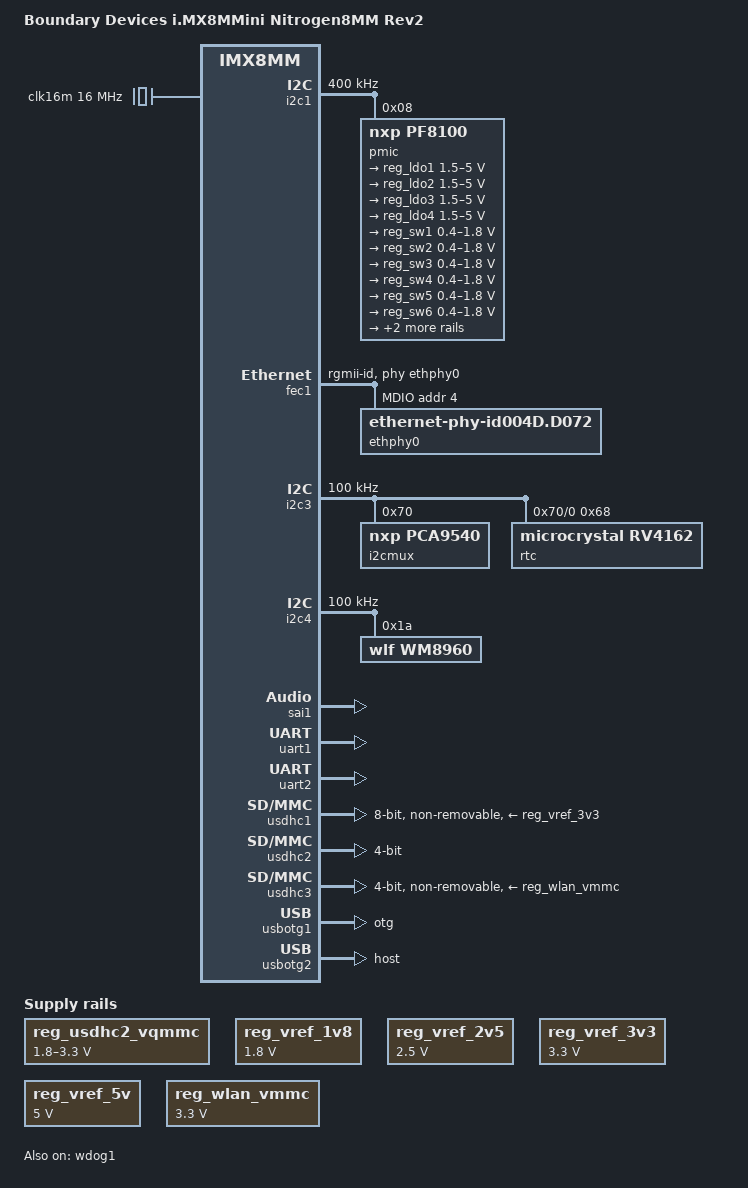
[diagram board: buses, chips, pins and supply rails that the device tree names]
// SPDX-License-Identifier: (GPL-2.0+ OR MIT)
/*
 * Device Tree file for Boundary Devices i.MX8MMini Nitrogen8MM Rev2 board.
 * Adrien Grassein <adrien.grassein@gmail.com.com>
 */
/dts-v1/;
#include "imx8mm.dtsi"

#define MX8MMN(a, b)	MX8MM_##a b
#define IMX8MMN(a)	IMX8MM_##a

&iomuxc {
	pinctrl-names = "default";
	pinctrl-0 = <&pinctrl_hog>;

	pinctrl_sai1: sai1grp {
		fsl,pins = <
			/* wm8960 */
			MX8MMN(IOMUXC_SAI1_MCLK_SAI1_MCLK, 0xd6)
			MX8MMN(IOMUXC_SAI1_TXFS_SAI1_TX_SYNC, 0xd6)
			MX8MMN(IOMUXC_SAI1_TXC_SAI1_TX_BCLK, 0xd6)
			MX8MMN(IOMUXC_SAI1_TXD0_SAI1_TX_DATA0, 0xd6)
			MX8MMN(IOMUXC_SAI1_RXD0_SAI1_RX_DATA0, 0xd6)
		>;
	};

	pinctrl_usbotg2: usbotg2grp {
		fsl,pins = <
			MX8MMN(IOMUXC_GPIO1_IO14_USB2_OTG_PWR, 0x16)
			MX8MMN(IOMUXC_GPIO1_IO15_USB2_OTG_OC, 0x156)
		>;
	};

	pinctrl_bt_rfkill: bt-rfkillgrp {
		fsl,pins = <
#define GP_BT_RFKILL_RESET	<&gpio3 14 GPIO_ACTIVE_LOW>
			MX8MMN(IOMUXC_NAND_DQS_GPIO3_IO14, 0x119)
		>;
	};

	pinctrl_fec1: fec1grp {
		fsl,pins = <
			MX8MMN(IOMUXC_ENET_MDC_ENET1_MDC, 0x3)
			MX8MMN(IOMUXC_ENET_MDIO_ENET1_MDIO, 0x3)
			MX8MMN(IOMUXC_ENET_TD3_ENET1_RGMII_TD3, 0x1f)
			MX8MMN(IOMUXC_ENET_TD2_ENET1_RGMII_TD2, 0x1f)
			MX8MMN(IOMUXC_ENET_TD1_ENET1_RGMII_TD1, 0x1f)
			MX8MMN(IOMUXC_ENET_TD0_ENET1_RGMII_TD0, 0x1f)
			MX8MMN(IOMUXC_ENET_RD3_ENET1_RGMII_RD3, 0x91)
			MX8MMN(IOMUXC_ENET_RD2_ENET1_RGMII_RD2, 0x91)
			MX8MMN(IOMUXC_ENET_RD1_ENET1_RGMII_RD1, 0x91)
			MX8MMN(IOMUXC_ENET_RD0_ENET1_RGMII_RD0, 0x91)
			MX8MMN(IOMUXC_ENET_TXC_ENET1_RGMII_TXC, 0x1f)
			MX8MMN(IOMUXC_ENET_RXC_ENET1_RGMII_RXC, 0x91)
			MX8MMN(IOMUXC_ENET_RX_CTL_ENET1_RGMII_RX_CTL, 0x91)
			MX8MMN(IOMUXC_ENET_TX_CTL_ENET1_RGMII_TX_CTL, 0x1f)
#define GPIRQ_FEC1_PHY	<&gpio3 16 IRQ_TYPE_LEVEL_LOW>
			MX8MMN(IOMUXC_NAND_READY_B_GPIO3_IO16, 0x159)
		>;
	};

	pinctrl_hog: hoggrp {
		fsl,pins = <
			MX8MMN(IOMUXC_GPIO1_IO03_GPIO1_IO3, 0x09)
			MX8MMN(IOMUXC_GPIO1_IO08_GPIO1_IO8, 0x09)
		>;
	};

	pinctrl_i2c1: i2c1grp {
		fsl,pins = <
			MX8MMN(IOMUXC_I2C1_SCL_I2C1_SCL, 0x400001c3)
			MX8MMN(IOMUXC_I2C1_SDA_I2C1_SDA, 0x400001c3)
		>;
	};

	pinctrl_i2c1_1: i2c1_1grp {
		fsl,pins = <
#define GP_I2C1_SCL	<&gpio5 14 GPIO_OPEN_DRAIN>
			MX8MMN(IOMUXC_I2C1_SCL_GPIO5_IO14, 0x400001c3)
#define GP_I2C1_SDA	<&gpio5 15 GPIO_OPEN_DRAIN>
			MX8MMN(IOMUXC_I2C1_SDA_GPIO5_IO15, 0x400001c3)
		>;
	};

	pinctrl_i2c2: i2c2grp {
		fsl,pins = <
			MX8MMN(IOMUXC_I2C2_SCL_I2C2_SCL, 0x400001c3)
			MX8MMN(IOMUXC_I2C2_SDA_I2C2_SDA, 0x400001c3)
		>;
	};

	pinctrl_i2c2_1: i2c2_1grp {
		fsl,pins = <
#define GP_I2C2_SCL	<&gpio5 16 GPIO_OPEN_DRAIN>
			MX8MMN(IOMUXC_I2C2_SCL_GPIO5_IO16, 0x400001c3)
#define GP_I2C2_SDA	<&gpio5 17 GPIO_OPEN_DRAIN>
			MX8MMN(IOMUXC_I2C2_SDA_GPIO5_IO17, 0x400001c3)
		>;
	};

	pinctrl_i2c3: i2c3grp {
		fsl,pins = <
			MX8MMN(IOMUXC_I2C3_SCL_I2C3_SCL, 0x400001c3)
			MX8MMN(IOMUXC_I2C3_SDA_I2C3_SDA, 0x400001c3)
		>;
	};

	pinctrl_i2c3_1: i2c3_1grp {
		fsl,pins = <
#define GP_I2C3_SCL	<&gpio5 18 GPIO_OPEN_DRAIN>
			MX8MMN(IOMUXC_I2C3_SCL_GPIO5_IO18, 0x400001c3)
#define GP_I2C3_SDA	<&gpio5 19 GPIO_OPEN_DRAIN>
			MX8MMN(IOMUXC_I2C3_SDA_GPIO5_IO19, 0x400001c3)
		>;
	};

	pinctrl_i2c3a_rv4162: i2c3a-rv4162grp {
		fsl,pins = <
#define GPIRQ_RV4162		<&gpio4 22 IRQ_TYPE_LEVEL_LOW>
			MX8MMN(IOMUXC_SAI2_RXC_GPIO4_IO22, 0x1c0)
		>;
	};

	pinctrl_i2c4: i2c4grp {
		fsl,pins = <
			MX8MMN(IOMUXC_I2C4_SCL_I2C4_SCL, 0x400001c3)
			MX8MMN(IOMUXC_I2C4_SDA_I2C4_SDA, 0x400001c3)
		>;
	};

	pinctrl_i2c4_1: i2c4_1grp {
		fsl,pins = <
#define GP_I2C4_SCL	<&gpio5 20 GPIO_OPEN_DRAIN>
			MX8MMN(IOMUXC_I2C4_SCL_GPIO5_IO20, 0x400001c3)
#define GP_I2C4_SDA	<&gpio5 21 GPIO_OPEN_DRAIN>
			MX8MMN(IOMUXC_I2C4_SDA_GPIO5_IO21, 0x400001c3)
		>;
	};

	pinctrl_reg_usdhc2_vqmmc: reg_usdhc2_vqmmcgrp {
		fsl,pins = <
#define GP_USDHC2_VSEL	<&gpio3 2 GPIO_ACTIVE_HIGH>
			MX8MMN(IOMUXC_NAND_CE1_B_GPIO3_IO2, 0x16)
		>;
	};

	pinctrl_reg_wlan_vmmc: reg-wlan-vmmcgrp {
		fsl,pins = <
#define GP_REG_WLAN_VMMC	<&gpio3 20 GPIO_ACTIVE_HIGH>
			MX8MMN(IOMUXC_SAI5_RXC_GPIO3_IO20, 0x16)
		>;
	};

	pinctrl_sound_wm8960: sound-wm8960grp {
		fsl,pins = <
#define GP_WM8960_MIC_DET		<&gpio1 10 GPIO_ACTIVE_HIGH>
			MX8MMN(IOMUXC_GPIO1_IO10_GPIO1_IO10, 0x80)
#define GP_WM8960_HP_DET		<&gpio4 28 GPIO_ACTIVE_HIGH>
			MX8MMN(IOMUXC_SAI3_RXFS_GPIO4_IO28, 0x80)
		>;
	};

	pinctrl_uart1: uart1grp {
		fsl,pins = <
			MX8MMN(IOMUXC_UART1_RXD_UART1_DCE_RX, 0x140)
			MX8MMN(IOMUXC_UART1_TXD_UART1_DCE_TX, 0x140)
			MX8MMN(IOMUXC_UART3_RXD_UART1_DCE_CTS_B, 0x140)
			MX8MMN(IOMUXC_UART3_TXD_UART1_DCE_RTS_B, 0x140)
		>;
	};

	pinctrl_uart2: uart2grp {
		fsl,pins = <
			MX8MMN(IOMUXC_UART2_RXD_UART2_DCE_RX, 0x140)
			MX8MMN(IOMUXC_UART2_TXD_UART2_DCE_TX, 0x140)
		>;
	};

	pinctrl_uart3: uart3grp {
		fsl,pins = <
			MX8MMN(IOMUXC_ECSPI1_SCLK_UART3_DCE_RX, 0x140)
			MX8MMN(IOMUXC_ECSPI1_MOSI_UART3_DCE_TX, 0x140)
			MX8MMN(IOMUXC_ECSPI1_SS0_UART3_DCE_RTS_B, 0x140)
			MX8MMN(IOMUXC_ECSPI1_MISO_UART3_DCE_CTS_B, 0x140)
		>;
	};

	pinctrl_uart4: uart4grp {
		fsl,pins = <
			MX8MMN(IOMUXC_UART4_RXD_UART4_DCE_RX, 0x140)
			MX8MMN(IOMUXC_UART4_TXD_UART4_DCE_TX, 0x140)
		>;
	};

	pinctrl_usbotg1: usbotg1grp {
		fsl,pins = <
			MX8MMN(IOMUXC_GPIO1_IO12_USB1_OTG_PWR, 0x16)
			MX8MMN(IOMUXC_GPIO1_IO13_USB1_OTG_OC, 0x156)
		>;
	};

	pinctrl_usdhc1: usdhc1grp {
		fsl,pins = <
			MX8MMN(IOMUXC_SD1_CLK_USDHC1_CLK, 0x190)
			MX8MMN(IOMUXC_SD1_CMD_USDHC1_CMD, 0x1d0)
			MX8MMN(IOMUXC_SD1_DATA0_USDHC1_DATA0, 0x1d0)
			MX8MMN(IOMUXC_SD1_DATA1_USDHC1_DATA1, 0x1d0)
			MX8MMN(IOMUXC_SD1_DATA2_USDHC1_DATA2, 0x1d0)
			MX8MMN(IOMUXC_SD1_DATA3_USDHC1_DATA3, 0x1d0)
			MX8MMN(IOMUXC_SD1_DATA4_USDHC1_DATA4, 0x1d0)
			MX8MMN(IOMUXC_SD1_DATA5_USDHC1_DATA5, 0x1d0)
			MX8MMN(IOMUXC_SD1_DATA6_USDHC1_DATA6, 0x1d0)
			MX8MMN(IOMUXC_SD1_DATA7_USDHC1_DATA7, 0x1d0)
#define GP_EMMC_RESET		<&gpio2 10 GPIO_ACTIVE_LOW>
			MX8MMN(IOMUXC_SD1_RESET_B_GPIO2_IO10, 0x141)
		>;
	};

	pinctrl_usdhc1_100mhz: usdhc1grp100mhz {
		fsl,pins = <
			MX8MMN(IOMUXC_SD1_CLK_USDHC1_CLK, 0x194)
			MX8MMN(IOMUXC_SD1_CMD_USDHC1_CMD, 0x1d4)
			MX8MMN(IOMUXC_SD1_DATA0_USDHC1_DATA0, 0x1d4)
			MX8MMN(IOMUXC_SD1_DATA1_USDHC1_DATA1, 0x1d4)
			MX8MMN(IOMUXC_SD1_DATA2_USDHC1_DATA2, 0x1d4)
			MX8MMN(IOMUXC_SD1_DATA3_USDHC1_DATA3, 0x1d4)
			MX8MMN(IOMUXC_SD1_DATA4_USDHC1_DATA4, 0x1d4)
			MX8MMN(IOMUXC_SD1_DATA5_USDHC1_DATA5, 0x1d4)
			MX8MMN(IOMUXC_SD1_DATA6_USDHC1_DATA6, 0x1d4)
			MX8MMN(IOMUXC_SD1_DATA7_USDHC1_DATA7, 0x1d4)
		>;
	};

	pinctrl_usdhc1_200mhz: usdhc1grp200mhz {
		fsl,pins = <
			MX8MMN(IOMUXC_SD1_CLK_USDHC1_CLK, 0x196)
			MX8MMN(IOMUXC_SD1_CMD_USDHC1_CMD, 0x1d6)
			MX8MMN(IOMUXC_SD1_DATA0_USDHC1_DATA0, 0x1d6)
			MX8MMN(IOMUXC_SD1_DATA1_USDHC1_DATA1, 0x1d6)
			MX8MMN(IOMUXC_SD1_DATA2_USDHC1_DATA2, 0x1d6)
			MX8MMN(IOMUXC_SD1_DATA3_USDHC1_DATA3, 0x1d6)
			MX8MMN(IOMUXC_SD1_DATA4_USDHC1_DATA4, 0x1d6)
			MX8MMN(IOMUXC_SD1_DATA5_USDHC1_DATA5, 0x1d6)
			MX8MMN(IOMUXC_SD1_DATA6_USDHC1_DATA6, 0x1d6)
			MX8MMN(IOMUXC_SD1_DATA7_USDHC1_DATA7, 0x1d6)
		>;
	};

	pinctrl_usdhc2: usdhc2grp {
		fsl,pins = <
			MX8MMN(IOMUXC_SD2_CLK_USDHC2_CLK, 0x190)
			MX8MMN(IOMUXC_SD2_CMD_USDHC2_CMD, 0x1d0)
			MX8MMN(IOMUXC_SD2_DATA0_USDHC2_DATA0, 0x1d0)
			MX8MMN(IOMUXC_SD2_DATA1_USDHC2_DATA1, 0x1d0)
			MX8MMN(IOMUXC_SD2_DATA2_USDHC2_DATA2, 0x1d0)
			MX8MMN(IOMUXC_SD2_DATA3_USDHC2_DATA3, 0x1d0)
#define GP_USDHC2_CD	<&gpio2 12 GPIO_ACTIVE_LOW>
			MX8MMN(IOMUXC_SD2_CD_B_GPIO2_IO12, 0x1c4)
		>;
	};

	pinctrl_usdhc2_100mhz: usdhc2grp100mhz {
		fsl,pins = <
			MX8MMN(IOMUXC_SD2_CLK_USDHC2_CLK, 0x194)
			MX8MMN(IOMUXC_SD2_CMD_USDHC2_CMD, 0x1d4)
			MX8MMN(IOMUXC_SD2_DATA0_USDHC2_DATA0, 0x1d4)
			MX8MMN(IOMUXC_SD2_DATA1_USDHC2_DATA1, 0x1d4)
			MX8MMN(IOMUXC_SD2_DATA2_USDHC2_DATA2, 0x1d4)
			MX8MMN(IOMUXC_SD2_DATA3_USDHC2_DATA3, 0x1d4)
		>;
	};

	pinctrl_usdhc2_200mhz: usdhc2grp200mhz {
		fsl,pins = <
			MX8MMN(IOMUXC_SD2_CLK_USDHC2_CLK, 0x196)
			MX8MMN(IOMUXC_SD2_CMD_USDHC2_CMD, 0x1d6)
			MX8MMN(IOMUXC_SD2_DATA0_USDHC2_DATA0, 0x1d6)
			MX8MMN(IOMUXC_SD2_DATA1_USDHC2_DATA1, 0x1d6)
			MX8MMN(IOMUXC_SD2_DATA2_USDHC2_DATA2, 0x1d6)
			MX8MMN(IOMUXC_SD2_DATA3_USDHC2_DATA3, 0x1d6)
		>;
	};

	pinctrl_usdhc3: usdhc3grp {
		fsl,pins = <
			MX8MMN(IOMUXC_NAND_WE_B_USDHC3_CLK, 0x190)
			MX8MMN(IOMUXC_NAND_WP_B_USDHC3_CMD, 0x1d0)
			MX8MMN(IOMUXC_NAND_DATA04_USDHC3_DATA0, 0x1d0)
			MX8MMN(IOMUXC_NAND_DATA05_USDHC3_DATA1, 0x1d0)
			MX8MMN(IOMUXC_NAND_DATA06_USDHC3_DATA2, 0x1d0)
			MX8MMN(IOMUXC_NAND_DATA07_USDHC3_DATA3, 0x1d0)
			/* Bluetooth slow clock */
			MX8MMN(IOMUXC_GPIO1_IO00_ANAMIX_REF_CLK_32K, 0x03)
		>;
	};

	pinctrl_usdhc3_100mhz: usdhc3grp100mhz {
		fsl,pins = <
			MX8MMN(IOMUXC_NAND_WE_B_USDHC3_CLK, 0x194)
			MX8MMN(IOMUXC_NAND_WP_B_USDHC3_CMD, 0x1d4)
			MX8MMN(IOMUXC_NAND_DATA04_USDHC3_DATA0, 0x1d4)
			MX8MMN(IOMUXC_NAND_DATA05_USDHC3_DATA1, 0x1d4)
			MX8MMN(IOMUXC_NAND_DATA06_USDHC3_DATA2, 0x1d4)
			MX8MMN(IOMUXC_NAND_DATA07_USDHC3_DATA3, 0x1d4)
		>;
	};

	pinctrl_usdhc3_200mhz: usdhc3grp200mhz {
		fsl,pins = <
			MX8MMN(IOMUXC_NAND_WE_B_USDHC3_CLK, 0x196)
			MX8MMN(IOMUXC_NAND_WP_B_USDHC3_CMD, 0x1d6)
			MX8MMN(IOMUXC_NAND_DATA04_USDHC3_DATA0, 0x1d6)
			MX8MMN(IOMUXC_NAND_DATA05_USDHC3_DATA1, 0x1d6)
			MX8MMN(IOMUXC_NAND_DATA06_USDHC3_DATA2, 0x1d6)
			MX8MMN(IOMUXC_NAND_DATA07_USDHC3_DATA3, 0x1d6)
		>;
	};

	pinctrl_wdog: wdoggrp {
		fsl,pins = <
			MX8MMN(IOMUXC_GPIO1_IO02_WDOG1_WDOG_B, 0x140)
		>;
	};

	pinctrl_usbotg1: usbotg1grp {
		fsl,pins = <
			MX8MMN(IOMUXC_GPIO1_IO12_USB1_OTG_PWR, 0x16)
			MX8MMN(IOMUXC_GPIO1_IO13_USB1_OTG_OC, 0x156)
		>;
	};

	pinctrl_usbotg2: usbotg2grp {
		fsl,pins = <
			MX8MMN(IOMUXC_GPIO1_IO14_USB2_OTG_PWR, 0x16)
			MX8MMN(IOMUXC_GPIO1_IO15_USB2_OTG_OC, 0x156)
		>;
	};
};


&i2c1 {
	clock-frequency = <400000>;
	pinctrl-names = "default", "gpio";
	pinctrl-0 = <&pinctrl_i2c1>;
	pinctrl-1 = <&pinctrl_i2c1_1>;
	scl-gpios = GP_I2C1_SCL;
	sda-gpios = GP_I2C1_SDA;
	status = "okay";

	pmic: pf8100@8 {
		compatible = "nxp,pf8100";
		reg = <0x08>;
		status = "okay";

		regulators {
			reg_ldo1: ldo1 {
				regulator-always-on;
				regulator-boot-on;
				regulator-max-microvolt = <5000000>;
				regulator-min-microvolt = <1500000>;
			};

			reg_ldo2: ldo2 {
				regulator-always-on;
				regulator-boot-on;
				regulator-max-microvolt = <5000000>;
				regulator-min-microvolt = <1500000>;
			};

			reg_ldo3: ldo3 {
				regulator-always-on;
				regulator-boot-on;
				regulator-max-microvolt = <5000000>;
				regulator-min-microvolt = <1500000>;
			};

			reg_ldo4: ldo4 {
				regulator-always-on;
				regulator-boot-on;
				regulator-max-microvolt = <5000000>;
				regulator-min-microvolt = <1500000>;
			};

			reg_sw1: sw1 {
				nxp,phase = <0>;
				regulator-always-on;
				regulator-boot-on;
				regulator-max-microvolt = <1800000>;
				regulator-min-microvolt = <400000>;
				regulator-max-microamp  = <4500000>;
			};

			reg_sw2: sw2 {
				regulator-always-on;
				regulator-boot-on;
				regulator-max-microvolt = <1800000>;
				regulator-min-microvolt =  <400000>;
			};

			reg_sw3: sw3 {
				regulator-always-on;
				regulator-boot-on;
				regulator-max-microvolt = <1800000>;
				regulator-min-microvolt =  <400000>;
				nxp,fast-slew;
			};

			reg_sw4: sw4 {
				regulator-always-on;
				regulator-boot-on;
				regulator-max-microvolt = <1800000>;
				regulator-min-microvolt =  <400000>;
				nxp,fast-slew;
			};

			reg_sw5: sw5 {
				regulator-always-on;
				regulator-boot-on;
				regulator-max-microvolt = <1800000>;
				regulator-min-microvolt =  <400000>;
			};

			reg_sw6: sw6 {
				regulator-always-on;
				regulator-boot-on;
				regulator-max-microvolt = <1800000>;
				regulator-min-microvolt =  <400000>;
			};

			reg_sw7: sw7 {
				regulator-always-on;
				regulator-boot-on;
				regulator-max-microvolt = <4100000>;
				regulator-min-microvolt = <1000000>;
			};

			reg_vsnvs: vsnvs {
				regulator-always-on;
				regulator-boot-on;
				regulator-max-microvolt = <3300000>;
				regulator-min-microvolt = <1800000>;
			};
		};
	};
};

/ {
	model = "Boundary Devices i.MX8MMini Nitrogen8MM Rev2";
	compatible = "boundary,imx8mm-nitrogen8mm", "fsl,imx8mm";

	bt-rfkill {
		compatible = "net,rfkill-gpio";
		pinctrl-names = "default";
		pinctrl-0 = <&pinctrl_bt_rfkill>;
		name = "bt-rfkill";
		type = <2>; /* Bluetooth */
		reset-gpios = GP_BT_RFKILL_RESET;
		status = "okay";
	};

	reg_usdhc2_vqmmc: regulator-usdhc2-vqmmc {
		compatible = "regulator-gpio";
		pinctrl-names = "default";
		pinctrl-0 = <&pinctrl_reg_usdhc2_vqmmc>;
		regulator-name = "reg_sd2_vsel";
		regulator-min-microvolt = <1800000>;
		regulator-max-microvolt = <3300000>;
		regulator-type = "voltage";
		regulator-boot-on;
		regulator-always-on;
		gpios = GP_USDHC2_VSEL;
		states = <1800000 0x1
			  3300000 0x0>;
	};

	reg_vref_1v8: regulator-vref-1v8 {
		compatible = "regulator-fixed";
		regulator-name = "vref-1v8";
		regulator-min-microvolt = <1800000>;
		regulator-max-microvolt = <1800000>;
	};

	reg_vref_2v5: regulator-vref-2v5 {
		compatible = "regulator-fixed";
		regulator-name = "vref-2v5";
		regulator-min-microvolt = <2500000>;
		regulator-max-microvolt = <2500000>;
	};

	reg_vref_3v3: regulator-vref-3v3 {
		compatible = "regulator-fixed";
		regulator-name = "vref-3v3";
		regulator-min-microvolt = <3300000>;
		regulator-max-microvolt = <3300000>;
	};

	reg_vref_5v: regulator-vref-5v {
		compatible = "regulator-fixed";
		regulator-name = "vref-5v";
		regulator-min-microvolt = <5000000>;
		regulator-max-microvolt = <5000000>;
	};

	reg_wlan_vmmc: regulator-wlan-vmmc {
		compatible = "regulator-fixed";
		pinctrl-names = "default";
		pinctrl-0 = <&pinctrl_reg_wlan_vmmc>;
		regulator-name = "reg_wlan_vmmc";
		regulator-min-microvolt = <3300000>;
		regulator-max-microvolt = <3300000>;
		gpio = GP_REG_WLAN_VMMC;
		startup-delay-us = <70000>;
		enable-active-high;
	};

	clocks {
		clk16m: clk16m {
			compatible = "fixed-clock";
			#clock-cells = <0>;
			clock-frequency = <16000000>;
		};
	};

	sound-wm8960 {
		compatible = "fsl,imx-audio-wm8960";
		model = "wm8960-audio";
		audio-cpu = <&sai1>;
		codec-master;
		audio-codec = <&wm8960>;
		audio-routing =
			"Headphone Jack", "HP_L",
			"Headphone Jack", "HP_R",
			"Ext Spk", "SPK_LP",
			"Ext Spk", "SPK_LN",
			"Ext Spk", "SPK_RP",
			"Ext Spk", "SPK_RN",
			"RINPUT1", "Mic Jack",
			"Mic Jack", "MICB";
		/* JD2: hp detect high for headphone*/
		hp-det = <2 0>;
		hp-det-gpios = GP_WM8960_HP_DET;
		pinctrl-names = "default";
		pinctrl-0 = <&pinctrl_sound_wm8960>;
	};
};

&A53_0 {
	cpu-supply = <&reg_sw3>;
};

&fec1 {
	pinctrl-names = "default";
	pinctrl-0 = <&pinctrl_fec1>;

	phy-mode = "rgmii-id";
	phy-handle = <&ethphy0>;
	fsl,magic-packet;
	status = "okay";

	mdio {
		#address-cells = <1>;
		#size-cells = <0>;
		ethphy0: ethernet-phy@4 {
			compatible = "ethernet-phy-id004D.D072", "ethernet-phy-ieee802.3-c22";
			reg = <4>;
			interrupts-extended = GPIRQ_FEC1_PHY;
		};
	};
};

&i2c3 {
	clock-frequency = <100000>;
	pinctrl-names = "default", "gpio";
	pinctrl-0 = <&pinctrl_i2c3>;
	pinctrl-1 = <&pinctrl_i2c3_1>;
	scl-gpios = GP_I2C3_SCL;
	sda-gpios = GP_I2C3_SDA;
	status = "okay";

	i2cmux@70 {
		compatible = "nxp,pca9540";
		reg = <0x70>;
		#address-cells = <1>;
		#size-cells = <0>;

		i2c3a: i2c3@0 {
			reg = <0>;
			#address-cells = <1>;
			#size-cells = <0>;
				rtc@68 {
					compatible = "microcrystal,rv4162";
					pinctrl-names = "default";
					pinctrl-0 = <&pinctrl_i2c3a_rv4162>;
					reg = <0x68>;
					interrupts-extended = GPIRQ_RV4162;
					wakeup-source;
				};
		};
	};
};

&i2c4 {
	clock-frequency = <100000>;
	pinctrl-names = "default", "gpio";
	pinctrl-0 = <&pinctrl_i2c4>;
	pinctrl-1 = <&pinctrl_i2c4_1>;
	scl-gpios = GP_I2C4_SCL;
	sda-gpios = GP_I2C4_SDA;
	status = "okay";

	wm8960: codec@1a {
		compatible = "wlf,wm8960";
		reg = <0x1a>;
		clocks = <&clk IMX8MMN(CLK_SAI1_ROOT)>;
		clock-names = "mclk";
		wlf,shared-lrclk;
	};
};

&sai1 {
	assigned-clocks = <&clk IMX8MMN(AUDIO_PLL1)>, <&clk IMX8MMN(AUDIO_PLL2)>, <&clk IMX8MMN(CLK_SAI1)>;
	assigned-clock-parents = <0>, <0>, <&clk IMX8MMN(AUDIO_PLL1_OUT)>;
	assigned-clock-rates = <786432000>, <722534400>, <12288000>;
	pinctrl-names = "default";
	pinctrl-0 = <&pinctrl_sai1>;
	status = "okay";
};

&uart1 { /* BT */
	pinctrl-names = "default";
	pinctrl-0 = <&pinctrl_uart1>;
	assigned-clocks = <&clk IMX8MMN(CLK_UART1)>;
	assigned-clock-parents = <&clk IMX8MMN(SYS_PLL1_80M)>;
	fsl,uart-has-rtscts;
	status = "okay";
};

&uart2 { /* console */
	pinctrl-names = "default";
	pinctrl-0 = <&pinctrl_uart2>;
	assigned-clocks = <&clk IMX8MMN(CLK_UART2)>;
	assigned-clock-parents = <&clk IMX8MMN(CLK_24M)>;
	status = "okay";
};

/*eMMC*/
&usdhc1 {
	bus-width = <8>;
	sdhci-caps-mask = <0x80000000 0x0>;
	non-removable;
	pinctrl-names = "default", "state_100mhz", "state_200mhz";
	pinctrl-0 = <&pinctrl_usdhc1>;
	pinctrl-1 = <&pinctrl_usdhc1_100mhz>;
	pinctrl-2 = <&pinctrl_usdhc1_200mhz>;
	status = "okay";
	vmmc-supply = <&reg_vref_3v3>;
	vqmmc-1-8-v;
	vqmmc-supply = <&reg_vref_1v8>;
	status = "okay";
};

/*sdcard*/
&usdhc2 {
	bus-width = <4>;
	cd-gpios = GP_USDHC2_CD;
	pinctrl-names = "default", "state_100mhz", "state_200mhz";
	pinctrl-0 = <&pinctrl_usdhc2>;
	pinctrl-1 = <&pinctrl_usdhc2_100mhz>;
	pinctrl-2 = <&pinctrl_usdhc2_200mhz>;
	status = "okay";
	vqmmc-supply = <&reg_ldo2>;
};

/*wlan*/
&usdhc3 {
	bus-width = <4>;
	no-sd-uhs-sdr104;
	non-removable;
	pinctrl-names = "default", "state_100mhz", "state_200mhz";
	pinctrl-0 = <&pinctrl_usdhc3>;
	pinctrl-1 = <&pinctrl_usdhc3_100mhz>;
	pinctrl-2 = <&pinctrl_usdhc3_200mhz>;
	status = "okay";
	vmmc-supply = <&reg_wlan_vmmc>;
	vqmmc-1-8-v;
};

&wdog1 {
	pinctrl-names = "default";
	pinctrl-0 = <&pinctrl_wdog>;
	fsl,ext-reset-output;
	status = "okay";
};

&usbotg1 {
	dr_mode = "otg";
	over-current-active-low;
	pinctrl-names = "default";
	pinctrl-0 = <&pinctrl_usbotg1>;
	power-active-high;
	status = "okay";
	power-domains = <&pgc_otg1>;
};

&usbotg2 {
	dr_mode = "host";
	over-current-active-low;
	pinctrl-names = "default";
	pinctrl-0 = <&pinctrl_usbotg2>;
	power-active-high;
	status = "okay";
	power-domains = <&pgc_otg2>;
};
